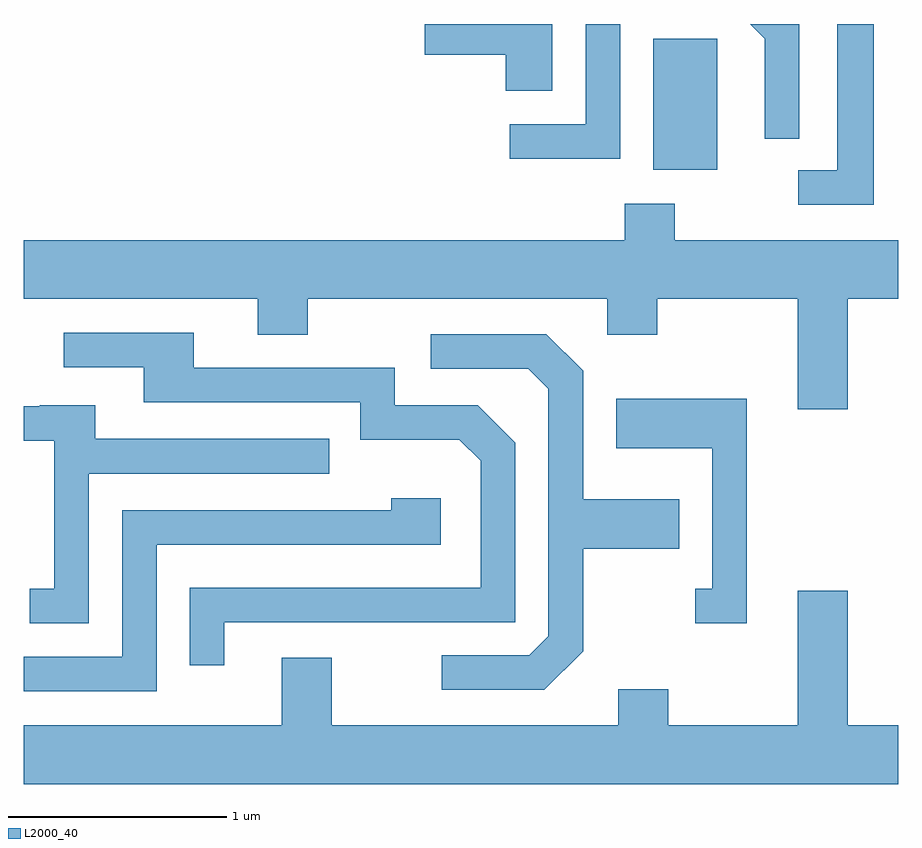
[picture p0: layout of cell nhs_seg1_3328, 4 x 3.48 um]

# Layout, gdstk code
import gdstk
lib = gdstk.Library(unit=1e-6, precision=1e-09)
def R(c, l, rs):  # rectangles x0, y0, x1, y1
    for r in rs: c.add(gdstk.rectangle(r[:2], r[2:], *l))
def P(c, l, *ps):  # polygons
    for p in ps: c.add(gdstk.Polygon(p, *l))
L2000_40 = (2000, 40)

nhs_seg1_3328 = lib.new_cell('nhs_seg1_3328')
R(nhs_seg1_3328, L2000_40, [(288.491,909.046,288.784,909.644)])
P(nhs_seg1_3328, L2000_40, [(289.499,909.712),(289.331,909.712),(289.331,909.044),(289.153,909.044),(289.153,908.886),(289.499,908.886)],
  [(288.339,909.712),(288.181,909.712),(288.181,909.254),(287.833,909.254),(287.833,909.096),(288.339,909.096)],
  [(289.159,909.712),(288.933,909.712),(289.001,909.644),(289.001,909.188),(289.159,909.188)],
  [(288.029,909.712),(287.446,909.712),(287.446,909.571),(287.816,909.571),(287.816,909.406),(288.029,909.406)],
  [(289.379,908.456),(289.611,908.456),(289.611,908.724),(288.589,908.724),(288.589,908.889),(288.361,908.889),(288.361,908.724),(285.611,908.724),(285.611,908.456),(286.681,908.456),(286.681,908.291),(286.909,908.291),(286.909,908.456),(288.281,908.456),(288.281,908.291),(288.509,908.291),(288.509,908.456),(289.151,908.456),(289.151,907.951),(289.379,907.951)],
  [(286.529,906.976),(287.859,906.976),(287.859,907.797),(287.687,907.969),(287.309,907.969),(287.309,908.139),(286.389,908.139),(286.389,908.299),(285.793,908.299),(285.793,908.141),(286.161,908.141),(286.161,907.981),(287.151,907.981),(287.151,907.811),(287.604,907.811),(287.701,907.714),(287.701,907.134),(286.371,907.134),(286.371,906.778),(286.529,906.778)],
  [(288.169,906.844),(288.169,907.311),(288.609,907.311),(288.609,907.539),(288.169,907.539),(288.169,908.127),(288.002,908.294),(287.473,908.294),(287.473,908.136),(287.919,908.136),(288.011,908.044),(288.011,906.912),(287.924,906.824),(287.523,906.824),(287.523,906.666),(287.992,906.666)],
  [(288.919,907.999),(288.321,907.999),(288.321,907.771),(288.761,907.771),(288.761,907.129),(288.683,907.129),(288.683,906.971),(288.919,906.971)],
  [(285.909,907.656),(287.008,907.656),(287.008,907.814),(285.939,907.814),(285.939,907.969),(285.685,907.969),(285.685,907.964),(285.611,907.964),(285.611,907.806),(285.751,907.806),(285.751,907.129),(285.638,907.129),(285.638,906.971),(285.909,906.971)],
  [(286.219,907.331),(287.519,907.331),(287.519,907.544),(287.291,907.544),(287.291,907.489),(286.061,907.489),(286.061,906.819),(285.611,906.819),(285.611,906.661),(286.219,906.661)],
  [(289.611,906.504),(289.379,906.504),(289.379,907.119),(289.151,907.119),(289.151,906.504),(288.559,906.504),(288.559,906.669),(288.331,906.669),(288.331,906.504),(287.019,906.504),(287.019,906.814),(286.791,906.814),(286.791,906.504),(285.611,906.504),(285.611,906.236),(289.611,906.236)])

lib.write_gds('nhs_seg1_3328.gds')
